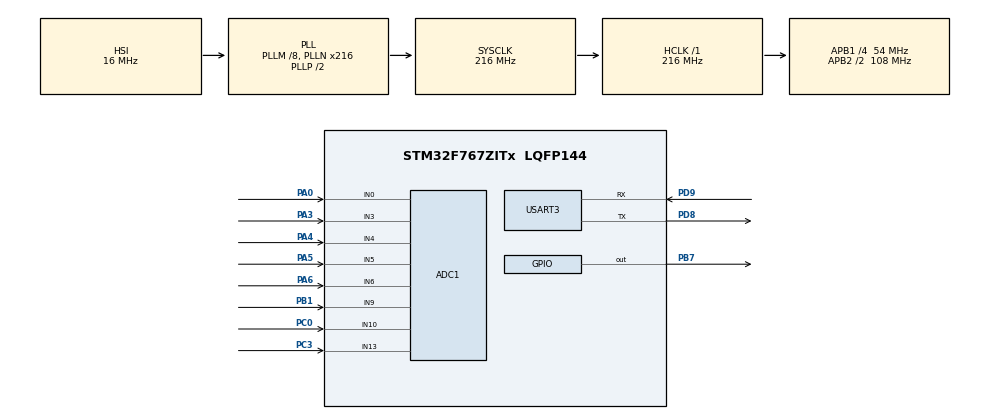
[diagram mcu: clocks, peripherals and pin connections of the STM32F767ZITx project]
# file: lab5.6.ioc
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ADC1.Channel-0\#ChannelRegularConversion=ADC_CHANNEL_0
ADC1.Channel-1\#ChannelRegularConversion=ADC_CHANNEL_3
ADC1.Channel-2\#ChannelRegularConversion=ADC_CHANNEL_4
ADC1.Channel-3\#ChannelRegularConversion=ADC_CHANNEL_5
ADC1.Channel-4\#ChannelRegularConversion=ADC_CHANNEL_6
ADC1.Channel-5\#ChannelRegularConversion=ADC_CHANNEL_9
ADC1.Channel-6\#ChannelRegularConversion=ADC_CHANNEL_10
ADC1.Channel-7\#ChannelRegularConversion=ADC_CHANNEL_13
ADC1.ClockPrescaler=ADC_CLOCK_SYNC_PCLK_DIV8
ADC1.ContinuousConvMode=ENABLE
ADC1.DMAContinuousRequests=ENABLE
ADC1.EOCSelection=ADC_EOC_SINGLE_CONV
ADC1.NbrOfConversion=8
ADC1.NbrOfConversionFlag=1
ADC1.Rank-0\#ChannelRegularConversion=1
ADC1.Rank-1\#ChannelRegularConversion=2
ADC1.Rank-2\#ChannelRegularConversion=3
ADC1.Rank-3\#ChannelRegularConversion=4
ADC1.Rank-4\#ChannelRegularConversion=5
ADC1.Rank-5\#ChannelRegularConversion=6
ADC1.Rank-6\#ChannelRegularConversion=7
ADC1.Rank-7\#ChannelRegularConversion=8
ADC1.SamplingTime-0\#ChannelRegularConversion=ADC_SAMPLETIME_480CYCLES
ADC1.SamplingTime-1\#ChannelRegularConversion=ADC_SAMPLETIME_480CYCLES
ADC1.SamplingTime-2\#ChannelRegularConversion=ADC_SAMPLETIME_480CYCLES
ADC1.SamplingTime-3\#ChannelRegularConversion=ADC_SAMPLETIME_480CYCLES
ADC1.SamplingTime-4\#ChannelRegularConversion=ADC_SAMPLETIME_480CYCLES
ADC1.SamplingTime-5\#ChannelRegularConversion=ADC_SAMPLETIME_480CYCLES
ADC1.SamplingTime-6\#ChannelRegularConversion=ADC_SAMPLETIME_480CYCLES
ADC1.SamplingTime-7\#ChannelRegularConversion=ADC_SAMPLETIME_480CYCLES
ADC1.ScanConvMode=ADC_SCAN_ENABLE
ADC1.master=1
Dma.ADC1.0.Direction=DMA_PERIPH_TO_MEMORY
Dma.ADC1.0.FIFOMode=DMA_FIFOMODE_ENABLE
Dma.ADC1.0.FIFOThreshold=DMA_FIFO_THRESHOLD_HALFFULL
Dma.ADC1.0.Instance=DMA2_Stream0
Dma.ADC1.0.MemBurst=DMA_MBURST_SINGLE
Dma.ADC1.0.MemDataAlignment=DMA_MDATAALIGN_WORD
Dma.ADC1.0.MemInc=DMA_MINC_ENABLE
Dma.ADC1.0.Mode=DMA_CIRCULAR
Dma.ADC1.0.PeriphBurst=DMA_PBURST_SINGLE
Dma.ADC1.0.PeriphDataAlignment=DMA_PDATAALIGN_WORD
Dma.ADC1.0.PeriphInc=DMA_PINC_DISABLE
Dma.ADC1.0.Priority=DMA_PRIORITY_LOW
Dma.Request0=ADC1
Mcu.Family=STM32F7
Mcu.Name=STM32F767ZITx
Mcu.Package=LQFP144
NVIC.DMA2_Stream0_IRQn=true\:1\:0\:true\:false\:true\:false\:true
NVIC.PriorityGroup=NVIC_PRIORITYGROUP_2
PA0/WKUP.Signal=ADCx_IN0
PA3.Signal=ADCx_IN3
PA4.Signal=ADCx_IN4
PA5.Signal=ADCx_IN5
PA6.Signal=ADCx_IN6
PB1.Signal=ADCx_IN9
PB7.Signal=GPIO_Output
PC0.Signal=ADCx_IN10
PC3.Signal=ADCx_IN13
PD8.Mode=Asynchronous
PD8.Signal=USART3_TX
PD9.Mode=Asynchronous
PD9.Signal=USART3_RX
ProjectManager.HeapSize=0x200
ProjectManager.StackSize=0x400
ProjectManager.TargetToolchain=STM32CubeIDE
RCC.AHBFreq_Value=216000000
RCC.APB1CLKDivider=RCC_HCLK_DIV4
RCC.APB1Freq_Value=54000000
RCC.APB1TimFreq_Value=108000000
RCC.APB2CLKDivider=RCC_HCLK_DIV2
RCC.APB2Freq_Value=108000000
RCC.APB2TimFreq_Value=216000000
RCC.CortexFreq_Value=216000000
RCC.HCLKFreq_Value=216000000
RCC.HSE_VALUE=25000000
RCC.HSI_VALUE=16000000
RCC.LSE_VALUE=32768
RCC.PLLM=8
RCC.PLLN=216
RCC.SYSCLKFreq_VALUE=216000000
RCC.SYSCLKSource=RCC_SYSCLKSOURCE_PLLCLK
RCC.USBFreq_Value=216000000
RCC.VCOOutputFreq_Value=432000000
SH.ADCx_IN0.0=ADC1_IN0,IN0
SH.ADCx_IN10.0=ADC1_IN10,IN10
SH.ADCx_IN13.0=ADC1_IN13,IN13
SH.ADCx_IN3.0=ADC1_IN3,IN3
SH.ADCx_IN4.0=ADC1_IN4,IN4
SH.ADCx_IN5.0=ADC1_IN5,IN5
SH.ADCx_IN6.0=ADC1_IN6,IN6
SH.ADCx_IN9.0=ADC1_IN9,IN9
USART3.VirtualMode-Asynchronous=VM_ASYNC
board=custom

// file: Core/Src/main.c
/* USER CODE BEGIN Header */
/**
  ******************************************************************************
  * @file           : main.c
  * @brief          : Main program body
  ******************************************************************************
  * @attention
  *
  * <h2><center>&copy; Copyright (c) 2021 STMicroelectronics.
  * All rights reserved.</center></h2>
  *
  * This software component is licensed by ST under BSD 3-Clause license,
  * the "License"; You may not use this file except in compliance with the
  * License. You may obtain a copy of the License at:
  *                        opensource.org/licenses/BSD-3-Clause
  *
  ******************************************************************************
  */
/* USER CODE END Header */
#include "main.h"
#include "adc.h"
#include "dma.h"
#include "usart.h"
#include "gpio.h"

/* USER CODE BEGIN Includes */
#include <string.h>
/* USER CODE END Includes */

/* USER CODE BEGIN PV */
volatile uint32_t adc_val[8];

char output[]="a";

uint8_t i=0;

float vin;
char vin1[]="a";
char strCh[]="a";

uint8_t ch[]={0,3,4,5,6,9,10,13};

/* USER CODE END PV */

void SystemClock_Config(void);
/* USER CODE BEGIN PFP */
void displayHEX(uint32_t x,uint8_t i);
/* USER CODE END PFP */

int main(void)
{

  /* MCU Configuration--------------------------------------------------------*/

  /* Reset of all peripherals, Initializes the Flash interface and the Systick. */
  HAL_Init();

  /* Configure the system clock */
  SystemClock_Config();

  /* Initialize all configured peripherals */
  MX_GPIO_Init();
  MX_USART3_UART_Init();
  MX_DMA_Init();
  MX_ADC1_Init();
  /* USER CODE BEGIN 2 */
  HAL_ADC_Start_DMA(&hadc1, adc_val, 8);
  /* USER CODE END 2 */

  /* Infinite loop */
  while (1)
  {

  }
}

void SystemClock_Config(void)
{
  RCC_OscInitTypeDef RCC_OscInitStruct = {0};
  RCC_ClkInitTypeDef RCC_ClkInitStruct = {0};
  RCC_PeriphCLKInitTypeDef PeriphClkInitStruct = {0};

  /** Configure the main internal regulator output voltage
  */
  __HAL_RCC_PWR_CLK_ENABLE();
  __HAL_PWR_VOLTAGESCALING_CONFIG(PWR_REGULATOR_VOLTAGE_SCALE1);
  /** Initializes the RCC Oscillators according to the specified parameters
  * in the RCC_OscInitTypeDef structure.
  */
  RCC_OscInitStruct.OscillatorType = RCC_OSCILLATORTYPE_HSI;
  RCC_OscInitStruct.HSIState = RCC_HSI_ON;
  RCC_OscInitStruct.HSICalibrationValue = RCC_HSICALIBRATION_DEFAULT;
  RCC_OscInitStruct.PLL.PLLState = RCC_PLL_ON;
  RCC_OscInitStruct.PLL.PLLSource = RCC_PLLSOURCE_HSI;
  RCC_OscInitStruct.PLL.PLLM = 8;
  RCC_OscInitStruct.PLL.PLLN = 216;
  RCC_OscInitStruct.PLL.PLLP = RCC_PLLP_DIV2;
  RCC_OscInitStruct.PLL.PLLQ = 2;
  RCC_OscInitStruct.PLL.PLLR = 2;
  if (HAL_RCC_OscConfig(&RCC_OscInitStruct) != HAL_OK)
  {
    Error_Handler();
  }
  /** Activate the Over-Drive mode
  */
  if (HAL_PWREx_EnableOverDrive() != HAL_OK)
  {
    Error_Handler();
  }
  /** Initializes the CPU, AHB and APB buses clocks
  */
  RCC_ClkInitStruct.ClockType = RCC_CLOCKTYPE_HCLK|RCC_CLOCKTYPE_SYSCLK
                              |RCC_CLOCKTYPE_PCLK1|RCC_CLOCKTYPE_PCLK2;
  RCC_ClkInitStruct.SYSCLKSource = RCC_SYSCLKSOURCE_PLLCLK;
  RCC_ClkInitStruct.AHBCLKDivider = RCC_SYSCLK_DIV1;
  RCC_ClkInitStruct.APB1CLKDivider = RCC_HCLK_DIV4;
  RCC_ClkInitStruct.APB2CLKDivider = RCC_HCLK_DIV2;

  if (HAL_RCC_ClockConfig(&RCC_ClkInitStruct, FLASH_LATENCY_7) != HAL_OK)
  {
    Error_Handler();
  }
  PeriphClkInitStruct.PeriphClockSelection = RCC_PERIPHCLK_USART3;
  PeriphClkInitStruct.Usart3ClockSelection = RCC_USART3CLKSOURCE_PCLK1;
  if (HAL_RCCEx_PeriphCLKConfig(&PeriphClkInitStruct) != HAL_OK)
  {
    Error_Handler();
  }
}

/* USER CODE BEGIN 4 */
void HAL_ADC_ConvHalfCpltCallback(ADC_HandleTypeDef* hadc){
   /*while (__HAL_UART_GET_FLAG(&huart3,UART_FLAG_TC) == RESET);
   HAL_UART_Transmit(&huart3, (uint8_t*) "No\r\n",strlen("No\r\n"), 1000);*/
   HAL_GPIO_WritePin(GPIOB,GPIO_PIN_7,1);
}

void HAL_ADC_ConvCpltCallback(ADC_HandleTypeDef* hadc){
   /*while (__HAL_UART_GET_FLAG(&huart3,UART_FLAG_TC) == RESET);
   HAL_UART_Transmit(&huart3, (uint8_t*) "Yes\r\n",strlen("Yes\r\n"), 1000);*/
   HAL_GPIO_WritePin(GPIOB,GPIO_PIN_7,0);
   displayHEX(adc_val[i],ch[i]);
   i++;
   HAL_Delay(500);
   if(i==8){
	  i=0;
	  HAL_UART_Transmit(&huart3, (uint8_t*)"\r\n",2,1000);
   }

}

void displayHEX(uint32_t x,uint8_t i)
{
	sprintf(output,"%08X",x);
	vin =(float)x/4096.0*3.3;

	while(__HAL_UART_GET_FLAG(&huart3,UART_FLAG_TC)==RESET){}
	HAL_UART_Transmit(&huart3, (uint8_t*)"ADC1 CH",7,1000);

	sprintf(strCh,"%d",i);
	HAL_UART_Transmit(&huart3, (uint8_t*)strCh,strlen(strCh),1000);
	HAL_UART_Transmit(&huart3, (uint8_t*)" 0x",3,1000);
	HAL_UART_Transmit(&huart3, (uint8_t*)output,strlen(output),1000);
	HAL_UART_Transmit(&huart3, (uint8_t*)" Vin = ",7,1000);

	sprintf(vin1,"%.2f",vin);
	while(__HAL_UART_GET_FLAG(&huart3,UART_FLAG_TC)==RESET){}
	HAL_UART_Transmit(&huart3, (uint8_t*)vin1,strlen(vin1),1000);
	HAL_UART_Transmit(&huart3, (uint8_t*)" V\r\n",4,1000);
}
/* USER CODE END 4 */

void Error_Handler(void)
{
  __disable_irq();
  while (1)
  {
  }
}

/************************ (C) COPYRIGHT STMicroelectronics *****END OF FILE****/
